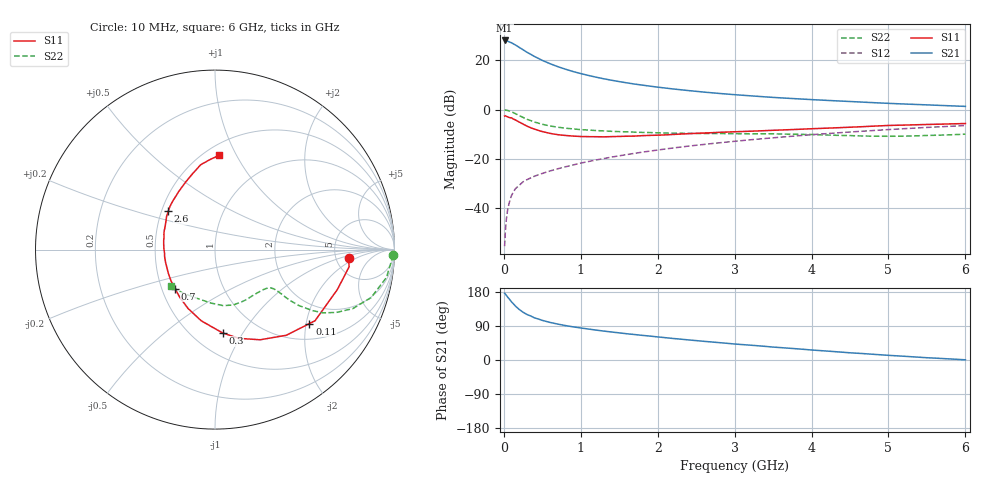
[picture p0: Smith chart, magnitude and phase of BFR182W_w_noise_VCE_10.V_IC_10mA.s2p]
! Infineon Technologies  Discrete & RF Semiconductors
! BFR182W
! VCE =  10. V,  IC =  10 mA
! Common Emitter S-Parameters:  Jan 2017
# GHz  S  MA  R  50
!  f  S11  S21  S12  S22
! GHz  MAG  ANG  MAG  ANG  MAG  ANG  MAG  ANG
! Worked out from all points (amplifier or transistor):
!   77 points, 10 MHz to 6 GHz, reference 50 ohm
!   highest |S21| = 28.1 dB at 10 MHz (marker M1)
!   |S21| within 3 dB of that: start of sweep to 209.8 MHz
!   unconditionally stable (mu >= 1): 1.11 GHz to 2.643 GHz
!   at 130 MHz: K = 0.28, MSG = 29.9 dB, |S12| = -33.1 dB
!   at 2.2 GHz: K = 1.02, MAG = 11.0 dB, |S12| = -15.5 dB
!   at 6 GHz: K = 0.85, MSG = 3.9 dB, |S12| = -6.4 dB
!   lowest NFmin = 1.07 dB at 450 MHz
!   S11 on the Smith chart (normalised r, x): 10 MHz: 6.57, -1.39; 110 MHz: 1.40, -2.09; 300 MHz: 0.69, -0.82; 700 MHz: 0.58, -0.28; 2.6 GHz: 0.54, +0.26; 6 GHz: 0.59, +0.85
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0.01  0.7459 -3.6  25.5 176.3  0.0017 83.9  0.9934 -1.8
0.02  0.7533 -7.3  25.49 173.9  0.0034 90.6  0.9851 -3.7
0.05  0.7171 -18.1  24.69 165.9  0.0094 79.2  0.9682 -9.2
0.1  0.6839 -35.4  22.9 153.3  0.0181 76.5  0.9102 -17.1
0.11  0.668 -38.1  22.4 151.3  0.0194 74.2  0.8944 -18.2
0.15  0.6212 -50.2  20.68 142.4  0.0249 67.5  0.8349 -23.2
0.2  0.5618 -63.4  18.46 133.4  0.0293 64.5  0.7612 -27.4
0.25  0.512 -75.0  16.49 126.0  0.0345 62.1  0.6984 -30.3
0.3  0.4661 -84.8  14.71 120.2  0.038 61.0  0.6417 -32.0
0.4  0.404 -100.9  12.02 111.1  0.0449 59.4  0.5615 -33.7
0.5  0.3608 -114.6  10.04 104.6  0.0509 60.5  0.5066 -34.1
0.6  0.331 -126.1  8.613 99.2  0.0572 61.3  0.4692 -34.0
0.7  0.3117 -135.8  7.508 94.8  0.0632 62.4  0.4425 -33.7
0.9  0.2921 -152.5  5.967 87.5  0.0757 63.7  0.4082 -33.6
1.1  0.2844 -165.5  4.969 81.7  0.0889 65.1  0.3869 -34.0
1.5  0.2871 174.5  3.727 71.6  0.116 65.7  0.3593 -36.9
2.1  0.3091 153.4  2.757 58.9  0.1597 64.8  0.3375 -45.5
2.6  0.3367 140.7  2.282 49.3  0.1974 62.6  0.3291 -55.0
3.1  0.3616 129.4  1.971 40.7  0.2368 59.7  0.3258 -64.6
4.1  0.417 111.7  1.578 25.0  0.3194 52.3  0.3104 -84.4
5.1  0.4838 98.2  1.328 11.1  0.4038 43.3  0.2898 -113.2
6  0.5254 87.5  1.17 0.5  0.4775 34.4  0.3194 -140.0
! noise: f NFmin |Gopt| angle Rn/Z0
0.45  1.07  0.08  50  0.15
0.9  1.15  0.07  86  0.15
1.9  1.65  0.19  -164  0.13
2.4  1.9  0.18  -156  0.2
